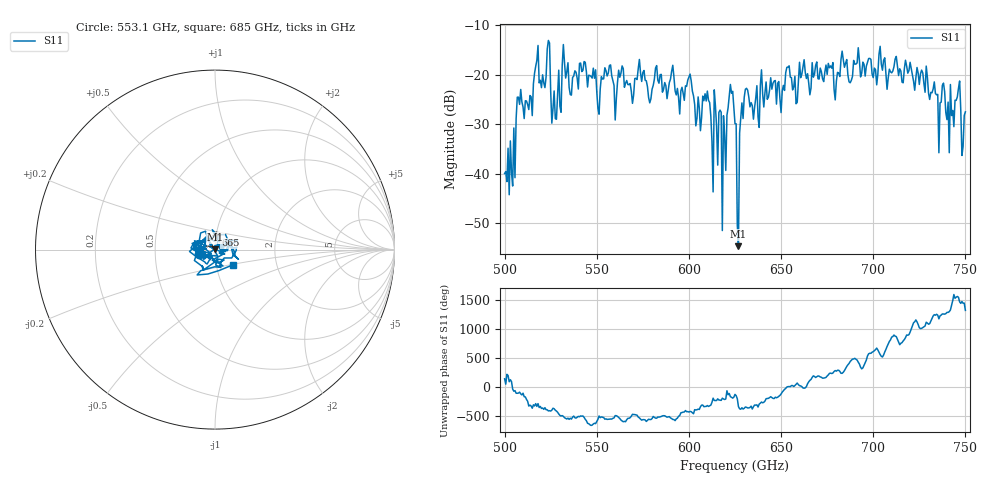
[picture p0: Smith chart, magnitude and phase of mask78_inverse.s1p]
!Created with skrf (http://scikit-rf.org).
# GHz S MA R 50.0
!freq magS11 angS11
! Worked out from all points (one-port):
!   401 points, 500 GHz to 750 GHz, reference 50 ohm
!   lowest |S11| = -54.7 dB at 626.9 GHz (marker M1), VSWR 1.00, Z = 50.2 + j0.0607 ohm
!   |S11| at or under -10 dB: start of sweep to end of sweep
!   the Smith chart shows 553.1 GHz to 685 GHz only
!   S11 on the Smith chart (normalised r, x): 553.1 GHz: 0.84, -0.04; 665 GHz: 0.99, +0.16; 685 GHz: 1.20, -0.21
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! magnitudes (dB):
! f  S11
! 500 GHz  -40.0
! 505 GHz  -30.8
! 507.5 GHz  -24.6
! 513.8 GHz  -24.2
! 516.9 GHz  -18.3
! 520.6 GHz  -20.0
! 523.8 GHz  -13.1
! 526.9 GHz  -23.3
! 531.2 GHz  -18.2
! 553.1 GHz  -20.9
! 562.5 GHz  -20.5
! 590.6 GHz  -19.3
! 593.8 GHz  -22.8
! 610 GHz  -23.3
! 611.9 GHz  -28.3
! 615 GHz  -30.5
! 619.4 GHz  -32.4
! 623.1 GHz  -23.8
! 625 GHz  -29.9
! 626.9 GHz  -54.7
! 628.8 GHz  -25.7
! 631.2 GHz  -22.8
! 656.2 GHz  -23.1
! 665 GHz  -21.7
! 685 GHz  -17.7
! 687.5 GHz  -21.6
! 718.8 GHz  -19.7
! 750 GHz  -27.5
